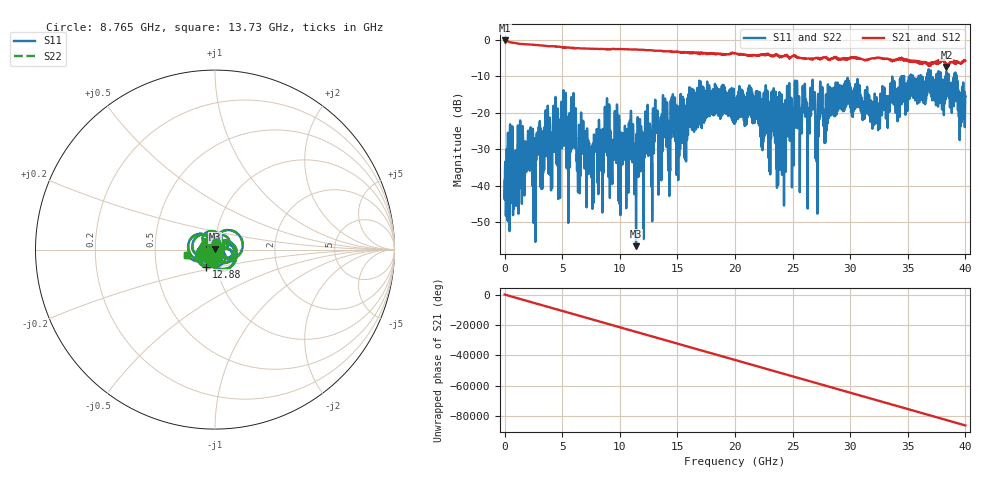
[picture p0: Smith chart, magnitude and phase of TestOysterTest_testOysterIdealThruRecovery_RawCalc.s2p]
! File created by SignalIntegrity v1.1.1: Signal and Power Integrity Tools
! https://github.com/TeledyneLeCroy/SignalIntegrity
# MHz MA S R 50.0
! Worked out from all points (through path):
!   8000 points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, 5 MHz to 40 GHz, reference 50 ohm
!   highest |S21| = -0.11 dB at 5 MHz (marker M1); lowest = -7.4 dB at 38.35 GHz (marker M2)
!   group delay of S21, straight-line fit = 5.99 ns
!   lowest |S11| = -56.5 dB at 11.41 GHz (marker M3), VSWR 1.00, Z = 50 + j0.142 ohm
!   |S11| at or under -10 dB: start of sweep to 34.49 GHz; 34.68 GHz to 35.17 GHz (493.6 MHz wide, 1.41 % of centre); 39.23 GHz to end of sweep (the widest 3 of 26)
!   |S22| runs from -56.5 to -8.0 dB; largest |S21 - S12| = 0.0016
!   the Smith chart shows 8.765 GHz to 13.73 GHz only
!   S11 on the Smith chart (normalised r, x): 8.765 GHz: 1.01, +0.08; 12.88 GHz: 0.89, -0.17; 13.73 GHz: 0.73, -0.05
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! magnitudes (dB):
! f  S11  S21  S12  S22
! 5 MHz  -38.6  -0.1  -0.1  -39.4
! 490 MHz  -23.3  -0.6  -0.6  -23.3
! 4.68 GHz  -31.9  -1.8  -1.8  -31.9
! 5.12 GHz  -14.0  -2.2  -2.2  -14.0
! 5.55 GHz  -38.9  -2.0  -2.0  -38.9
! 5.985 GHz  -14.5  -2.3  -2.3  -14.5
! 6.41 GHz  -35.5  -2.2  -2.2  -35.5
! 6.675 GHz  -23.2  -2.3  -2.3  -23.2
! 7.54 GHz  -37.7  -2.4  -2.4  -37.7
! 8.765 GHz  -28.0  -2.5  -2.5  -28.0
! 11.41 GHz  -56.5  -2.6  -2.6  -56.5
! 12.88 GHz  -19.3  -2.9  -2.9  -19.3
! 13.34 GHz  -28.3  -2.9  -2.9  -28.3
! 13.73 GHz  -16.0  -3.1  -3.1  -16.0
! 20 GHz  -22.8  -3.6  -3.6  -22.8
! 24.27 GHz  -26.0  -4.3  -4.3  -26.0
! 26.67 GHz  -18.4  -5.1  -5.1  -18.4
! 27.16 GHz  -47.6  -4.9  -4.9  -47.6
! 29.77 GHz  -10.4  -5.4  -5.4  -10.4
! 33.34 GHz  -18.4  -5.2  -5.2  -18.4
! 38.35 GHz  -8.6  -7.4  -7.4  -8.6
! 40 GHz  -15.4  -5.7  -5.7  -15.4
